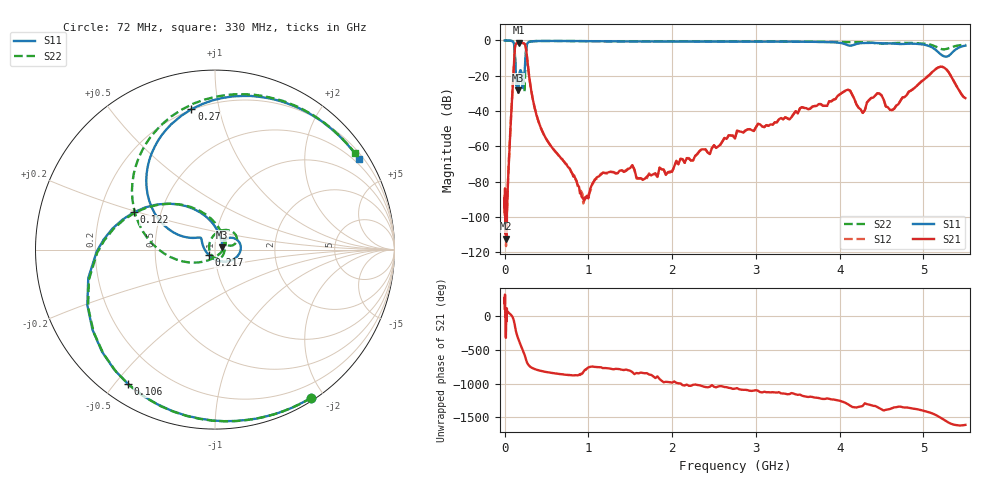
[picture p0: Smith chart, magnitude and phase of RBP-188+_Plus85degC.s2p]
! Mini-Circuits
! S2P DATA File Format
! Type: BAND PASS FILTER
! Model: RBP-188+
! All S Parameters are in dB deg format
! TEST CONDITIONS: INPUT POWER = 0 dBm @ Temperature = +85deg C
! 500 Frequency points
# MHz S dB R 50
!Frequency  S11 dB  S11 DEG  S21 dB  S21 DEG  S12 dB  S12 DEG  S22 dB  S22 DEG
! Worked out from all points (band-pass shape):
!   500 points, 1 MHz to 5.5 GHz, reference 50 ohm
!   highest |S21| = -1.34 dB at 169 MHz (marker M1); lowest = -112.2 dB at 20 MHz (marker M2)
!   |S21| within 3 dB of the highest: 123.3 MHz to 255.4 MHz (132.1 MHz wide, 69.7 % of centre)
!   lowest |S11| = -28.2 dB at 160 MHz (marker M3), VSWR 1.08, Z = 53.8 + j1.32 ohm
!   |S11| at or under -10 dB: 126.3 MHz to 249.3 MHz (123.1 MHz wide, 65.5 % of centre)
!   |S22| runs from -30.1 to 0.0 dB; largest |S21 - S12| = 0.001
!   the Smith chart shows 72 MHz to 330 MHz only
!   S11 on the Smith chart (normalised r, x): 72 MHz: 0.04, -1.84; 106 MHz: 0.07, -0.54; 122 MHz: 0.35, +0.19; 217 MHz: 0.93, -0.06; 270 MHz: 0.20, +0.83; 330 MHz: 0.35, +3.42
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1  0.00 -0.7  -93.66 109.2  -87.23 -172.3  0.00 -0.7
20  0.00 -13.1  -112.25 3.5  -102.84 -114.8  -0.01 -13.1
42  -0.03 -28.8  -78.97 51.9  -79.10 58.9  -0.03 -28.9
72  -0.14 -57.0  -48.44 24.4  -48.43 24.4  -0.14 -56.9
106  -0.99 -122.9  -18.12 -46.2  -18.13 -46.2  -0.97 -122.0
122  -6.06 155.4  -4.98 -134.7  -4.98 -134.7  -6.19 155.1
142  -25.35 41.7  -1.66 106.8  -1.66 106.8  -25.40 -22.8
160  -28.19 18.3  -1.38 35.4  -1.38 35.4  -29.39 -132.9
169  -23.95 45.0  -1.34 4.6  -1.34 4.6  -25.92 124.6
194  -16.94 -1.9  -1.41 -72.5  -1.41 -72.5  -17.03 32.8
217  -26.84 -136.3  -1.46 -141.2  -1.46 -141.2  -23.44 30.9
238  -18.40 146.6  -1.88 149.7  -1.88 149.7  -29.23 -42.9
247  -11.88 157.3  -2.56 114.2  -2.56 114.2  -14.29 -160.2
270  -2.01 99.5  -10.21 26.9  -10.21 27.0  -2.15 108.3
330  -0.47 32.3  -31.42 -49.5  -31.41 -49.5  -0.47 34.7
920  -0.37 -89.3  -88.40 -141.1  -85.91 -126.2  -0.37 -89.5
1850  -0.59 159.1  -72.06 147.2  -71.99 151.7  -0.58 158.7
2775  -0.60 60.3  -51.07 12.0  -51.12 11.8  -0.60 59.5
3675  -0.79 -36.8  -37.42 -120.2  -37.43 -120.3  -0.75 -37.5
4600  -1.70 -145.9  -39.26 62.5  -39.23 62.4  -1.55 -145.9
5200  -7.65 124.8  -14.90 -63.6  -14.90 -63.6  -4.68 132.0
5500  -2.92 127.1  -32.64 -172.8  -32.65 -172.8  -2.32 110.2
